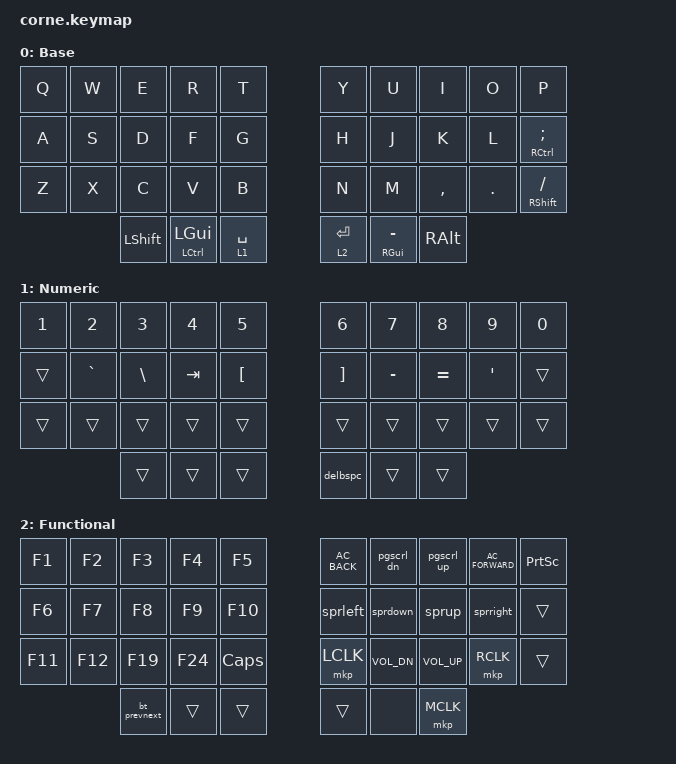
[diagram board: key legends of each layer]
/*
 * Copyright (c) 2020 The ZMK Contributors
 *
 * SPDX-License-Identifier: MIT
 */

#include <dt-bindings/zmk/mouse.h>

#define ZMK_POINTING_DEFAULT_MOVE_VAL 1500  // default: 600
#define ZMK_POINTING_DEFAULT_SCRL_VAL 20    // default: 10

#include <behaviors.dtsi>
#include <dt-bindings/zmk/bt.h>
#include <dt-bindings/zmk/keys.h>
#include <dt-bindings/zmk/pointing.h>
#include <dt-bindings/gpio/gpio.h>

&mmv { time-to-max-speed-ms = <450>; };

&mt {
    flavor = "balanced";
    tapping-term-ms = <125>;
};

/ {
    chosen { zmk,matrix_transform = &five_column_transform; };

    combos {
        compatible = "zmk,combos";

        COMBO_ENDHOME {
            bindings = <&endhome>;
            key-positions = <6 7>;
            layers = <2>;
        };

        JK2GRESC {
            bindings = <&gresc>;
            key-positions = <16 17>;
        };

        PP_PAUSE {
            bindings = <&playpause_mute>;
            key-positions = <26 27>;
            layers = <2>;
        };

        COMBO_BT_CLR {
            bindings = <&bt BT_CLR>;
            key-positions = <16 17 28>;
            layers = <2>;
        };
    };

    behaviors {
        delbspc: delbspc {
            compatible = "zmk,behavior-mod-morph";
            label = "DELBSPC";
            bindings = <&kp BACKSPACE>, <&kp DELETE>;

            #binding-cells = <0>;
            mods = <(MOD_LSFT|MOD_RSFT)>;
        };

        sprleft: sprleft {
            compatible = "zmk,behavior-mod-morph";
            label = "SPRLEFT";
            bindings = <&kp LEFT_ARROW>, <&mmv MOVE_LEFT>;

            #binding-cells = <0>;
            mods = <(MOD_LCTL|MOD_RCTL)>;
        };

        sprdown: sprdown {
            compatible = "zmk,behavior-mod-morph";
            label = "SPRDOWN";
            bindings = <&kp DOWN_ARROW>, <&mmv MOVE_DOWN>;

            #binding-cells = <0>;
            mods = <(MOD_LCTL|MOD_RCTL)>;
        };

        sprup: sprup {
            compatible = "zmk,behavior-mod-morph";
            label = "SPRUP";
            bindings = <&kp UP_ARROW>, <&mmv MOVE_UP>;

            #binding-cells = <0>;
            mods = <(MOD_LCTL|MOD_RCTL)>;
        };

        sprright: sprright {
            compatible = "zmk,behavior-mod-morph";
            label = "SPRRIGHT";
            bindings = <&kp RIGHT_ARROW>, <&mmv MOVE_RIGHT>;

            #binding-cells = <0>;
            mods = <(MOD_LCTL|MOD_RCTL)>;
        };

        pgscrl_dn: pgscrl_dn {
            compatible = "zmk,behavior-mod-morph";
            label = "PGSCRL_DN";
            bindings = <&msc SCRL_DOWN>, <&kp PAGE_DOWN>;

            #binding-cells = <0>;
            mods = <(MOD_LSFT|MOD_RSFT)>;
        };

        pgscrl_up: pgscrl_up {
            compatible = "zmk,behavior-mod-morph";
            label = "PGSCRL_UP";
            bindings = <&msc SCRL_UP>, <&kp PAGE_UP>;

            #binding-cells = <0>;
            mods = <(MOD_LSFT|MOD_RSFT)>;
        };

        endhome: endhome {
            compatible = "zmk,behavior-mod-morph";
            label = "ENDHOME";
            bindings = <&kp HOME>, <&kp END>;

            #binding-cells = <0>;
            mods = <(MOD_LSFT|MOD_RSFT)>;
        };

        bt_prevnext: bt_prevnext {
            compatible = "zmk,behavior-mod-morph";
            label = "BT_PREVNEXT";
            bindings = <&bt BT_NXT>, <&bt BT_PRV>;

            #binding-cells = <0>;
            mods = <(MOD_LSFT)>;
        };

        playpause_mute: playpause_mute {
            compatible = "zmk,behavior-mod-morph";
            label = "PLAYPAUSE_MUTE";
            bindings = <&kp K_MUTE>, <&kp K_PLAY_PAUSE>;

            #binding-cells = <0>;
            mods = <(MOD_LSFT|MOD_RSFT)>;
        };
    };

    keymap {
        compatible = "zmk,keymap";

        Base {
            // -----------------------------------------------------------------
            // |  Q  |  W  |  E  |  R  |  T  |   |  Y  |  U  |  I  |  O  |  P  |
            // |  A  |  S  |  D  |  F  |  G  |   |  H  |  J  |  K  |  L  |  ;  |
            // |  Z  |  X  |  C  |  V  |  B  |   |  N  |  M  |  ,  |  .  |  /  |
            //             | GUI | LWR | SPC |   | ENT | RSE | ALT |

            display-name = "Base";
            bindings = <
  &kp Q  &kp W  &kp E           &kp R                      &kp T          &kp Y        &kp U                &kp I          &kp O    &kp P
  &kp A  &kp S  &kp D           &kp F                      &kp G          &kp H        &kp J                &kp K          &kp L    &mt RCTRL SEMI
  &kp Z  &kp X  &kp C           &kp V                      &kp B          &kp N        &kp M                &kp COMMA      &kp DOT  &mt RIGHT_SHIFT FSLH
                &kp LEFT_SHIFT  &mt LEFT_CONTROL LEFT_GUI  &lt 1 SPACE    &lt 2 ENTER  &mt RIGHT_GUI MINUS  &kp RIGHT_ALT
            >;
        };

        Numeric {
            display-name = "Numeric";
            bindings = <
  &kp N1  &kp N2     &kp N3         &kp N4   &kp N5              &kp NUMBER_6       &kp N7     &kp N8     &kp N9            &kp N0
  &trans  &kp GRAVE  &kp BACKSLASH  &kp TAB  &kp LEFT_BRACKET    &kp RIGHT_BRACKET  &kp MINUS  &kp EQUAL  &kp SINGLE_QUOTE  &trans
  &trans  &trans     &trans         &trans   &trans              &trans             &trans     &trans     &trans            &trans
                     &trans         &trans   &trans              &delbspc           &trans     &trans
            >;
        };

        Functional {
            display-name = "Functional";
            bindings = <
  &kp F1   &kp F2   &kp F3        &kp F4   &kp F5          &kp C_AC_BACK  &pgscrl_dn    &pgscrl_up    &kp C_AC_FORWARD  &kp PRINTSCREEN
  &kp F6   &kp F7   &kp F8        &kp F9   &kp F10         &sprleft       &sprdown      &sprup        &sprright         &trans
  &kp F11  &kp F12  &kp F19       &kp F24  &kp CAPSLOCK    &mkp LCLK      &kp C_VOL_DN  &kp C_VOL_UP  &mkp RCLK         &trans
                    &bt_prevnext  &trans   &trans          &trans         &none         &mkp MCLK
            >;
        };
    };
};

#ifdef RIGHT_HALF
&kscan0 {
    col-gpios
        = <&pro_micro 14 GPIO_ACTIVE_HIGH>
        , <&pro_micro 15 GPIO_ACTIVE_HIGH>
        , <&pro_micro 18 GPIO_ACTIVE_HIGH>
        , <&pro_micro 10 GPIO_ACTIVE_HIGH>
        , <&pro_micro 20 GPIO_ACTIVE_HIGH>
        ;
};
#endif
